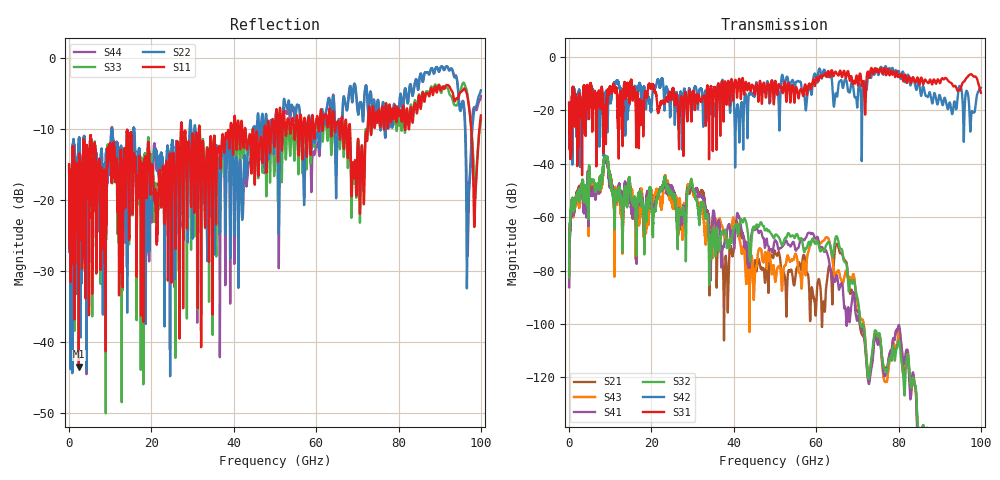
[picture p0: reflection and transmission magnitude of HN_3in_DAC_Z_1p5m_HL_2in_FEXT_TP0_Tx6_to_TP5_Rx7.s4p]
# GHz S RI R 45
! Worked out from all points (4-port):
!   4000 points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, 25 MHz to 100 GHz, reference 45 ohm
!   strongest paths, dB at 25 MHz, 25.02 GHz, 50.02 GHz, 75.03 GHz, 100 GHz:
!     S31: -17.1, -13.4, -9.2, -4.9, -13.4
!     S42: -17.1, -12.8, -11.9, -6.5, -11.5
!     S32: -82.6, -51.9, -66.7, -104.6, -
!     S41: -86.2, -48.7, -68.7, -107.6, -
!     S43: -81.5, -55.0, -83.6, -106.4, -
!     S21: -86.0, -50.0, -73.0, -105.7, -
!   lowest |S11| = -43.5 dB at 2.375 GHz (marker M1), VSWR 1.01, Z = 44.9 - j0.585 ohm
!   |S11| at or under -10 dB: start of sweep to 27.17 GHz; 31.74 GHz to 39.16 GHz (7.422 GHz wide, 20.9 % of centre); 68.24 GHz to 72.53 GHz (4.293 GHz wide, 6.1 % of centre)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
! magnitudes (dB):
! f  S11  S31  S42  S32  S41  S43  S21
! 25 MHz  -15.0  -17.1  -17.1  -82.6  -86.2  -81.5  -86.0
! 2.375 GHz  -43.5  -33.7  -16.4  -49.8  -49.3  -51.2  -48.5
! 32.25 GHz  -15.4  -16.3  -13.0  -54.3  -52.0  -55.5  -49.8
! 37.9 GHz  -11.9  -9.1  -16.1  -65.1  -68.6  -69.3  -79.6
! 91.72 GHz  -3.8  -8.2  -18.2  -158.5  -154.3  -153.9  -159.2
! 96.9 GHz  -6.0  -7.2  -14.2  -182.3  -184.2  -186.7  -180.8
! 100 GHz  -8.1  -13.4  -11.5  -  -  -  -
